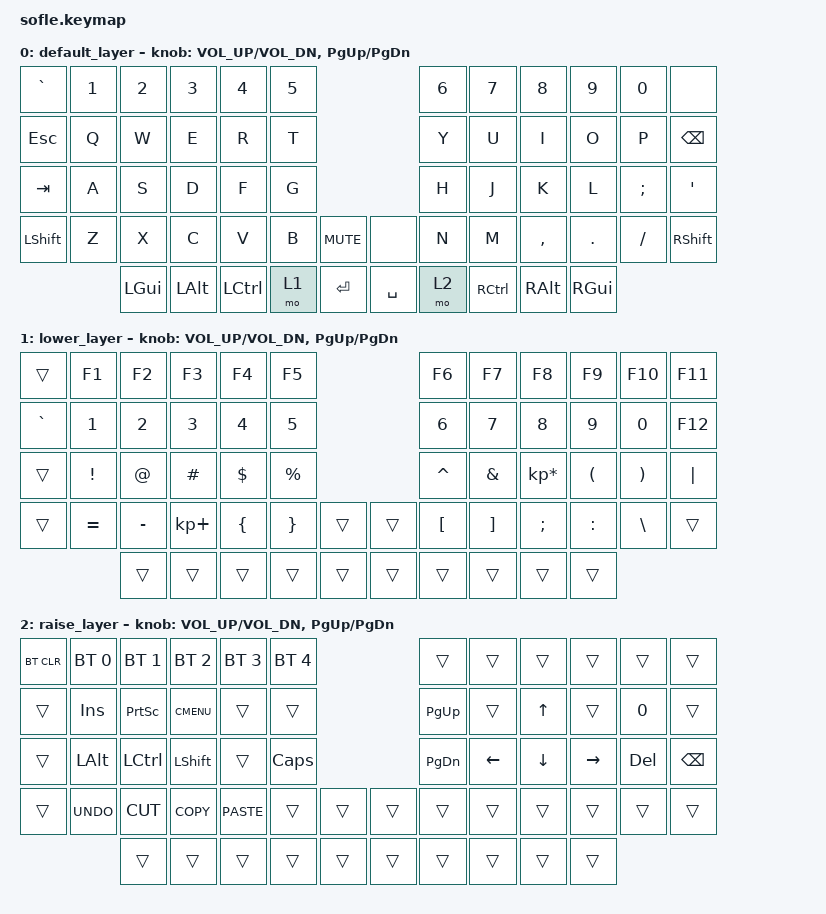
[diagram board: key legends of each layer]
/*
 * Copyright (c) 2020 The ZMK Contributors
 *
 * SPDX-License-Identifier: MIT
 */

#include <behaviors.dtsi>
#include <dt-bindings/zmk/outputs.h>
#include <dt-bindings/zmk/keys.h>
#include <dt-bindings/zmk/bt.h>

/ {
    behaviors {
            ht: hold_tap {
                    compatible = "zmk,behavior-hold-tap";
                    label = "Hold Tap";
                    #binding-cells = <2>;
                    tapping_term_ms = <150>;
                    flavor = "hold-preferred";
                    bindings = <&kp>, <&kp>;
            };
    };
    keymap {
        compatible = "zmk,keymap";

        default_layer {
// ------------------------------------------------------------------------------------------------------------
// |  `           |  1   |  2   |  3   |  4   |  5     |                   |  6   |  7    |  8    |  9   |   0   |   ESC   |
// | \         |  ''   |  ,   |  .   |  P   |  Y     |                   |  F   |  G    |  C    |  R   |   L   |   /   |
// | TAB  |  A   | O  |  E   |  U   |  I     |                   |  D   |  H    |  T    |  N   |   S   |   BKSPC   |
// | SHIFT        | ;Z   |  Q   |  J   | K   |  X     | MUTE  |  PP       |  B   |  M    |  W    |  V   | Z   | SHIFT |
//                       | CTRL | ALT  | GUI  | LOWER  | ENTER| SPACE    |UPPER | GUI | APT | CTRL  |
            bindings = <
&kp GRAVE     &kp N1    &kp N2    &kp N3    &kp N4    &kp N5                      &kp N6   &kp N7    &kp N8    &kp N9   &kp N0   &kp MINUS   
&kp TAB       &kp Q     &kp W     &kp E     &kp R     &kp T                       &kp Y    &kp U     &kp I     &kp O    &kp P    &kp BSLH
&ht LCTRL ESC &kp A     &kp S     &kp D     &kp F     &kp G                       &kp H    &kp J     &kp K     &kp L    &kp SEMI &kp SQT
&kp LSHFT     &kp Z     &kp X     &kp C     &kp V     &kp B     &kp C_MUTE &kp C_PP  &kp N    &kp M  &kp COMMA &kp DOT  &kp FSLH &kp RSHFT
                        &kp LCTRL &kp LGUI  &kp LALT  &kp SPACE &kp DEL    &kp RET   &kp BSPC &mo 1  &mo 2 &kp RGUI
            >;

            sensor-bindings = <&inc_dec_kp C_VOL_DN C_VOL_UP &inc_dec_kp C_PREV C_NEXT>;

            bindings = <
&kp GRAVE &kp N1 &kp N2   &kp N3   &kp N4    &kp N5                      &kp N6 &kp N7    &kp N8    &kp N9   &kp N0   &none
&kp ESC   &kp Q  &kp W    &kp E    &kp R     &kp T                       &kp Y  &kp U     &kp I     &kp O    &kp P    &kp BSPC
&kp TAB   &kp A  &kp S    &kp D    &kp F     &kp G                       &kp H  &kp J     &kp K     &kp L    &kp SEMI &kp SQT
&kp LSHFT &kp Z  &kp X    &kp C    &kp V     &kp B  &kp C_MUTE &none     &kp N  &kp M     &kp COMMA &kp DOT  &kp FSLH &kp RSHFT
                 &kp LGUI &kp LALT &kp LCTRL &mo 1  &kp RET    &kp SPACE &mo 2  &kp RCTRL &kp RALT  &kp RGUI
            >;

            sensor-bindings = <&inc_dec_kp C_VOL_UP C_VOL_DN &inc_dec_kp PG_UP PG_DN>;
        };

        lower_layer {
// TODO: Some binds are waiting for shifted keycode support.
// ------------------------------------------------------------------------------------------------------------
// |       |  F1 |  F2 |  F3  |  F4  |  F5  |                   |  F6  |  F7   |  F8   |  F9  |  F10  |  F11  |
// | `     |   1 |   2 |   3  |   4  |   5  |                   |   6  |   7   |   8   |   9  |    0  |  F12  |
// |       |  !  |  @  |  #   |  $   |  %   |                   |  ^   |  &    |  *    |  (   |   )   |   |   |
// |       |  =  |  -  |  +   |  {   |  }   |        |  |       |  [   |  ]    |  ;    |  :   |   \   |   /   |
//               |     |      |      |      |        |  |       |      |       |       |      |
            bindings = <
&trans    &kp F1    &kp F2    &kp F3      &kp F4    &kp F5                    &kp F6    &kp F7   &kp F8          &kp F9    &kp F10   &kp F11
&kp GRAVE &kp N1    &kp N2    &kp N3      &kp N4    &kp N5                    &kp N6    &kp N7   &kp N8          &kp N9    &kp N0    &kp F12
&trans    &kp EXCL  &kp AT    &kp HASH    &kp DLLR  &kp PRCNT                 &kp CARET &kp AMPS &kp KP_MULTIPLY &kp LPAR  &kp RPAR  &kp PIPE
&trans    &kp EQUAL &kp MINUS &kp KP_PLUS &kp LBRC  &kp RBRC  &trans   &trans &kp LBKT  &kp RBKT &kp SEMI        &kp COLON &kp BSLH  &trans
                    &trans    &trans      &trans    &trans    &trans   &trans &trans    &trans   &trans          &trans
            >;

            sensor-bindings = <&inc_dec_kp C_VOL_UP C_VOL_DN &inc_dec_kp PG_UP PG_DN>;
        };

        raise_layer {
// ------------------------------------------------------------------------------------------------------------
// |BTCLR| BT1  | BT2  |  BT3  |  BT4  |  BT5 |                |      |      |       |      |       |       |
// |     | INS  | PSCR | GUI   |       |      |                | PGUP |      |   ^   |      |       |       |
// |     | ALT  | CTRL | SHIFT |       | CAPS |                | PGDN |   <- |   v   |  ->  |  DEL  | BKSPC |
// |     | UNDO | CUT  | COPY  | PASTE |      |      |  |      |      |      |       |      |       |       |
//              |      |       |       |      |      |  |      |      |      |       |      |
            bindings = <
&bt BT_CLR &bt BT_SEL 0 &bt BT_SEL 1 &bt BT_SEL 2 &bt BT_SEL 3 &bt BT_SEL 4             &trans    &trans    &trans   &trans    &trans  &trans
&trans     &kp INS      &kp PSCRN    &kp K_CMENU  &trans       &trans                   &kp PG_UP &trans    &kp UP   &trans    &kp N0  &trans
&trans     &kp LALT     &kp LCTRL    &kp LSHFT    &trans       &kp CLCK                 &kp PG_DN &kp LEFT  &kp DOWN &kp RIGHT &kp DEL &kp BSPC
&trans     &kp K_UNDO   &kp K_CUT    &kp K_COPY   &kp K_PASTE  &trans  &trans   &trans  &trans    &trans    &trans   &trans    &trans  &trans
                        &trans       &trans       &trans       &trans  &trans   &trans  &trans    &trans    &trans   &trans
            >;

            sensor-bindings = <&inc_dec_kp C_VOL_UP C_VOL_DN &inc_dec_kp PG_UP PG_DN>;
        };
    };
};
